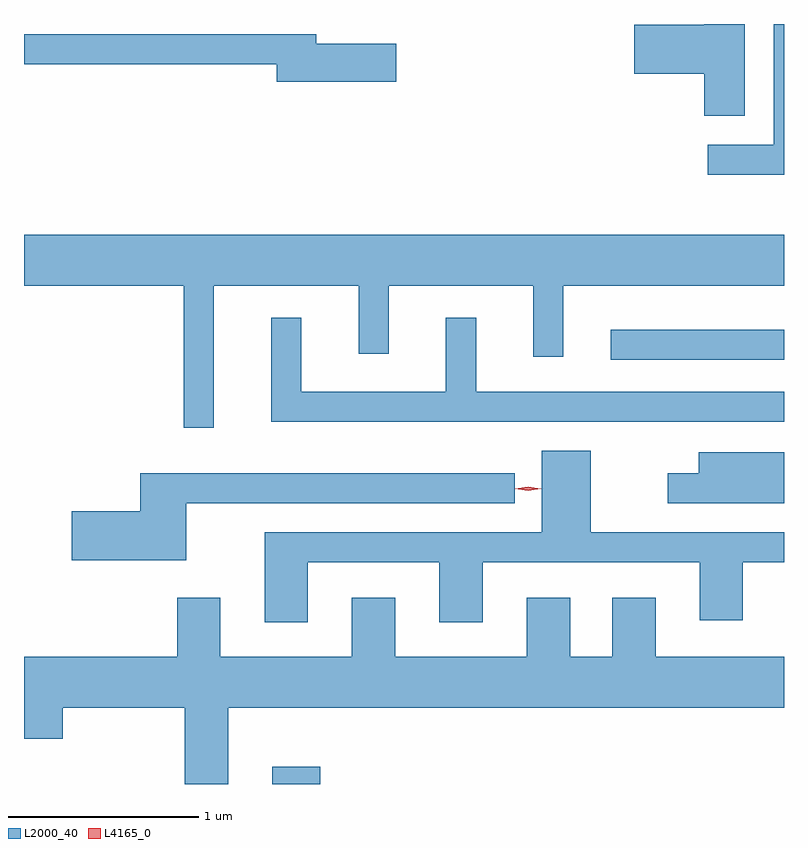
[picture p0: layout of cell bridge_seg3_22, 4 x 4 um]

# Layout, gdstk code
import gdstk
lib = gdstk.Library(unit=1e-6, precision=1e-09)
def R(c, l, rs):  # rectangles x0, y0, x1, y1
    for r in rs: c.add(gdstk.rectangle(r[:2], r[2:], *l))
def P(c, l, *ps):  # polygons
    for p in ps: c.add(gdstk.Polygon(p, *l))
L2000_40 = (2000, 40)
L4165_0 = (4165, 0)

bridge_seg3_22 = lib.new_cell('bridge_seg3_22')
R(bridge_seg3_22, L2000_40, [(1327.831,1161.134,1328.084,1161.224), (1329.613,1163.366,1330.525,1163.524)])
P(bridge_seg3_22, L2000_40, [(1330.525,1165.134),(1330.471,1165.134),(1330.471,1164.499),(1330.123,1164.499),(1330.123,1164.341),(1330.525,1164.341)],
  [(1330.319,1165.134),(1330.106,1165.134),(1330.106,1165.129),(1329.736,1165.129),(1329.736,1164.871),(1330.106,1164.871),(1330.106,1164.651),(1330.319,1164.651)],
  [(1328.484,1165.029),(1328.064,1165.029),(1328.064,1165.079),(1326.525,1165.079),(1326.525,1164.921),(1327.856,1164.921),(1327.856,1164.831),(1328.484,1164.831)],
  [(1327.524,1163.756),(1328.286,1163.756),(1328.286,1163.398),(1328.444,1163.398),(1328.444,1163.756),(1329.206,1163.756),(1329.206,1163.383),(1329.364,1163.383),(1329.364,1163.756),(1330.525,1163.756),(1330.525,1164.024),(1326.525,1164.024),(1326.525,1163.756),(1327.366,1163.756),(1327.366,1163.008),(1327.524,1163.008)],
  [(1330.525,1163.199),(1328.904,1163.199),(1328.904,1163.588),(1328.746,1163.588),(1328.746,1163.199),(1327.984,1163.199),(1327.984,1163.588),(1327.826,1163.588),(1327.826,1163.041),(1330.525,1163.041)],
  [(1328.019,1162.301),(1328.711,1162.301),(1328.711,1161.986),(1328.939,1161.986),(1328.939,1162.301),(1330.081,1162.301),(1330.081,1161.996),(1330.309,1161.996),(1330.309,1162.301),(1330.525,1162.301),(1330.525,1162.459),(1329.509,1162.459),(1329.509,1162.889),(1329.251,1162.889),(1329.251,1162.459),(1327.791,1162.459),(1327.791,1161.986),(1328.019,1161.986)],
  [(1330.525,1162.879),(1330.076,1162.879),(1330.076,1162.769),(1329.913,1162.769),(1329.913,1162.611),(1330.525,1162.611)],
  [(1327.379,1162.611),(1329.108,1162.611),(1329.108,1162.769),(1327.136,1162.769),(1327.136,1162.569),(1326.776,1162.569),(1326.776,1162.311),(1327.379,1162.311)],
  [(1327.599,1161.536),(1330.525,1161.536),(1330.525,1161.804),(1329.849,1161.804),(1329.849,1162.114),(1329.621,1162.114),(1329.621,1161.804),(1329.399,1161.804),(1329.399,1162.114),(1329.171,1162.114),(1329.171,1161.804),(1328.479,1161.804),(1328.479,1162.114),(1328.251,1162.114),(1328.251,1161.804),(1327.559,1161.804),(1327.559,1162.114),(1327.331,1162.114),(1327.331,1161.804),(1326.525,1161.804),(1326.525,1161.371),(1326.729,1161.371),(1326.729,1161.536),(1327.371,1161.536),(1327.371,1161.134),(1327.599,1161.134)])
P(bridge_seg3_22, L4165_0, [(1329.178,1162.678),(1329.109,1162.688),(1329.109,1162.688),(1329.109,1162.689),(1329.178,1162.698),(1329.246,1162.689),(1329.247,1162.688),(1329.246,1162.688)],
  [(1329.178,1162.677),(1329.113,1162.687),(1329.112,1162.687),(1329.113,1162.688),(1329.178,1162.697),(1329.244,1162.688),(1329.244,1162.687),(1329.244,1162.687)])

lib.write_gds('bridge_seg3_22.gds')
